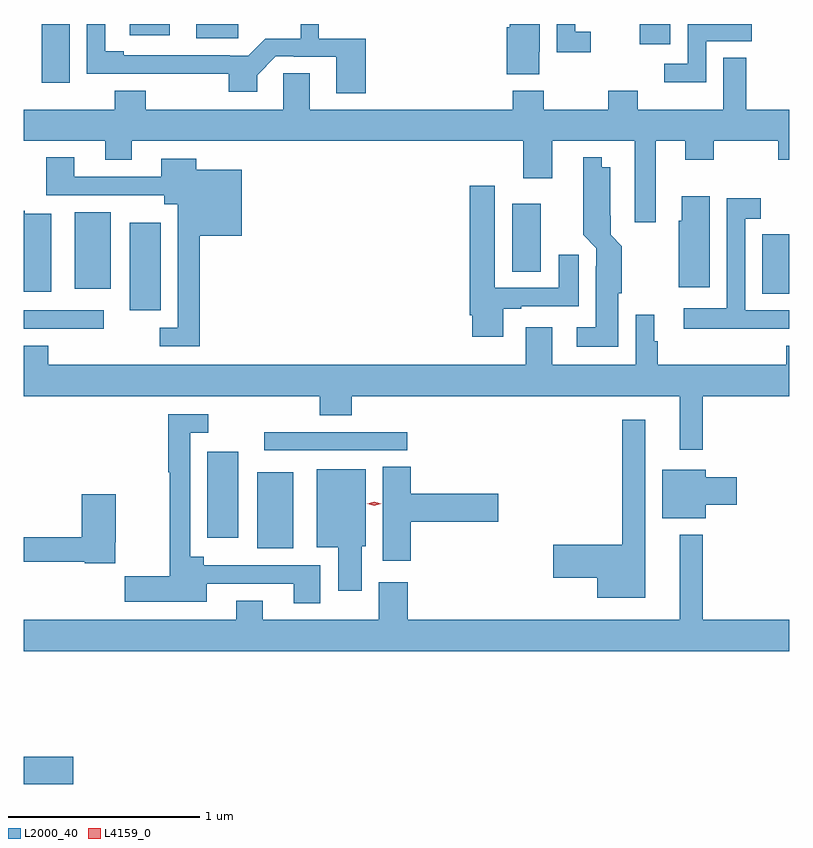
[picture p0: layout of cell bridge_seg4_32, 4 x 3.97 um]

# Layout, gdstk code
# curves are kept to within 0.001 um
import gdstk
lib = gdstk.Library(unit=1e-6, precision=1e-09)
def R(c, l, rs):  # rectangles x0, y0, x1, y1
    for r in rs: c.add(gdstk.rectangle(r[:2], r[2:], *l))
def P(c, l, *ps):  # polygons
    for p in ps: c.add(gdstk.Polygon(p, *l))
L2000_40 = (2000, 40)
L4159_0 = (4159, 0)

bridge_seg4_32 = lib.new_cell('bridge_seg4_32')
R(bridge_seg4_32, L2000_40, [(755.105,785.47,755.365,785.612), (756.326,786.701,756.514,787.099), (756.065,786.756,756.226,787.204), (756.363,787.212,757.108,787.308), (755.105,787.848,755.524,787.944), (755.66,787.943,755.821,788.401), (758.963,788.029,759.105,788.34), (755.372,788.057,755.56,788.455), (757.658,788.146,757.807,788.5), (755.201,789.132,755.347,789.439), (758.324,789.332,758.482,789.439), (756.008,789.365,756.226,789.439), (755.66,789.38,755.869,789.439)])
P(bridge_seg4_32, L2000_40, [(756.893,789.363),(756.648,789.363),(756.648,789.439),(756.552,789.439),(756.552,789.363),(756.368,789.363),(756.278,789.273),(756.182,789.273),(756.182,789.276),(755.629,789.276),(755.629,789.296),(755.532,789.296),(755.532,789.439),(755.436,789.439),(755.436,789.18),(756.178,789.179),(756.178,789.086),(756.325,789.086),(756.325,789.172),(756.423,789.27),(756.517,789.27),(756.517,789.267),(756.737,789.267),(756.737,789.078),(756.893,789.078)],
  [(758.068,789.399),(757.986,789.399),(757.986,789.439),(757.89,789.439),(757.89,789.291),(758.068,789.291)],
  [(758.67,789.348),(758.908,789.348),(758.908,789.439),(758.574,789.439),(758.574,789.231),(758.451,789.231),(758.451,789.134),(758.67,789.134)],
  [(757.798,789.294),(757.801,789.294),(757.801,789.439),(757.643,789.439),(757.643,789.422),(757.628,789.422),(757.628,789.176),(757.798,789.176)],
  [(758.407,788.828),(758.561,788.828),(758.561,788.729),(758.709,788.729),(758.709,788.828),(759.046,788.828),(759.046,788.729),(759.105,788.729),(759.105,788.992),(758.878,788.992),(758.878,789.263),(758.759,789.263),(758.759,788.992),(758.313,788.992),(758.313,789.091),(758.158,789.091),(758.158,788.992),(757.821,788.992),(757.821,789.091),(757.661,789.091),(757.661,788.992),(756.601,788.992),(756.601,789.182),(756.462,789.182),(756.462,788.992),(755.742,788.992),(755.742,789.091),(755.582,789.091),(755.582,788.992),(755.105,788.992),(755.105,788.828),(755.531,788.828),(755.531,788.729),(755.671,788.729),(755.671,788.828),(757.715,788.828),(757.715,788.634),(757.867,788.634),(757.867,788.828),(758.297,788.828),(758.297,788.403),(758.407,788.403)],
  [(758.212,788.034),(758.23,788.034),(758.23,788.279),(758.171,788.338),(758.17,788.692),(758.125,788.692),(758.125,788.743),(758.028,788.743),(758.027,788.338),(758.097,788.268),(758.097,788.174),(758.093,788.174),(758.093,787.855),(757.995,787.855),(757.995,787.754),(758.212,787.754)],
  [(756.026,788.333),(756.244,788.333),(756.244,788.677),(756.007,788.677),(756.007,788.734),(755.825,788.734),(755.825,788.64),(755.371,788.64),(755.371,788.743),(755.224,788.743),(755.224,788.544),(755.84,788.544),(755.84,788.498),(755.91,788.498),(755.91,787.852),(755.817,787.852),(755.817,787.755),(756.026,787.755)],
  [(757.609,787.953),(757.705,787.953),(757.705,787.965),(758.005,787.965),(758.005,788.233),(757.901,788.233),(757.901,788.061),(757.567,788.061),(757.567,788.593),(757.436,788.593),(757.436,787.918),(757.448,787.918),(757.448,787.806),(757.609,787.806)],
  [(758.689,788.539),(758.543,788.539),(758.543,788.412),(758.528,788.412),(758.528,788.064),(758.689,788.064)],
  [(758.971,787.848),(759.105,787.848),(759.105,787.944),(758.874,787.944),(758.874,788.421),(758.956,788.421),(758.956,788.53),(758.778,788.53),(758.778,787.954),(758.553,787.954),(758.553,787.847),(758.971,787.847)],
  [(755.251,788.449),(755.112,788.449),(755.112,788.464),(755.105,788.464),(755.105,788.042),(755.251,788.042)],
  [(758.398,787.782),(758.398,787.921),(758.301,787.921),(758.301,787.66),(757.867,787.66),(757.867,787.855),(757.727,787.855),(757.727,787.66),(755.234,787.66),(755.234,787.759),(755.105,787.759),(755.105,787.496),(756.653,787.496),(756.653,787.397),(756.818,787.397),(756.818,787.496),(758.531,787.496),(758.531,787.215),(758.653,787.215),(758.653,787.496),(759.105,787.496),(759.105,787.759),(759.089,787.759),(759.089,787.66),(758.417,787.66),(758.417,787.782)],
  [(756.655,786.612),(756.046,786.612),(756.046,786.658),(755.976,786.658),(755.976,787.305),(756.07,787.305),(756.07,787.401),(755.86,787.401),(755.86,787.098),(755.868,787.098),(755.868,786.556),(755.634,786.556),(755.634,786.422),(756.061,786.422),(756.061,786.516),(756.515,786.516),(756.515,786.414),(756.655,786.414)],
  [(758.353,787.372),(758.232,787.372),(758.232,786.719),(757.872,786.719),(757.872,786.548),(758.102,786.548),(758.102,786.443),(758.353,786.443)],
  [(757.127,786.839),(757.585,786.839),(757.585,786.986),(757.127,786.986),(757.127,787.127),(756.98,787.127),(756.98,786.636),(757.127,786.636)],
  [(756.871,786.711),(756.892,786.711),(756.892,787.114),(756.635,787.114),(756.635,786.707),(756.749,786.707),(756.749,786.48),(756.871,786.48)],
  [(758.668,786.929),(758.83,786.929),(758.83,787.071),(758.668,787.071),(758.668,787.111),(758.441,787.111),(758.441,786.857),(758.668,786.857)],
  [(755.585,786.733),(755.586,786.733),(755.586,786.982),(755.408,786.982),(755.408,786.758),(755.105,786.758),(755.105,786.63),(755.424,786.63),(755.424,786.622),(755.585,786.622)],
  [(759.105,786.328),(758.653,786.328),(758.653,786.772),(758.531,786.772),(758.531,786.328),(757.112,786.328),(757.112,786.523),(756.959,786.523),(756.959,786.328),(756.355,786.328),(756.355,786.427),(756.215,786.427),(756.215,786.328),(755.105,786.328),(755.105,786.164),(759.105,786.164)])
P(bridge_seg4_32, L4159_0, [(756.937,786.923),(756.899,786.933),(756.899,786.933),(756.899,786.933),(756.937,786.943),(756.974,786.933),(756.974,786.933),(756.974,786.933)])

lib.write_gds('bridge_seg4_32.gds')
